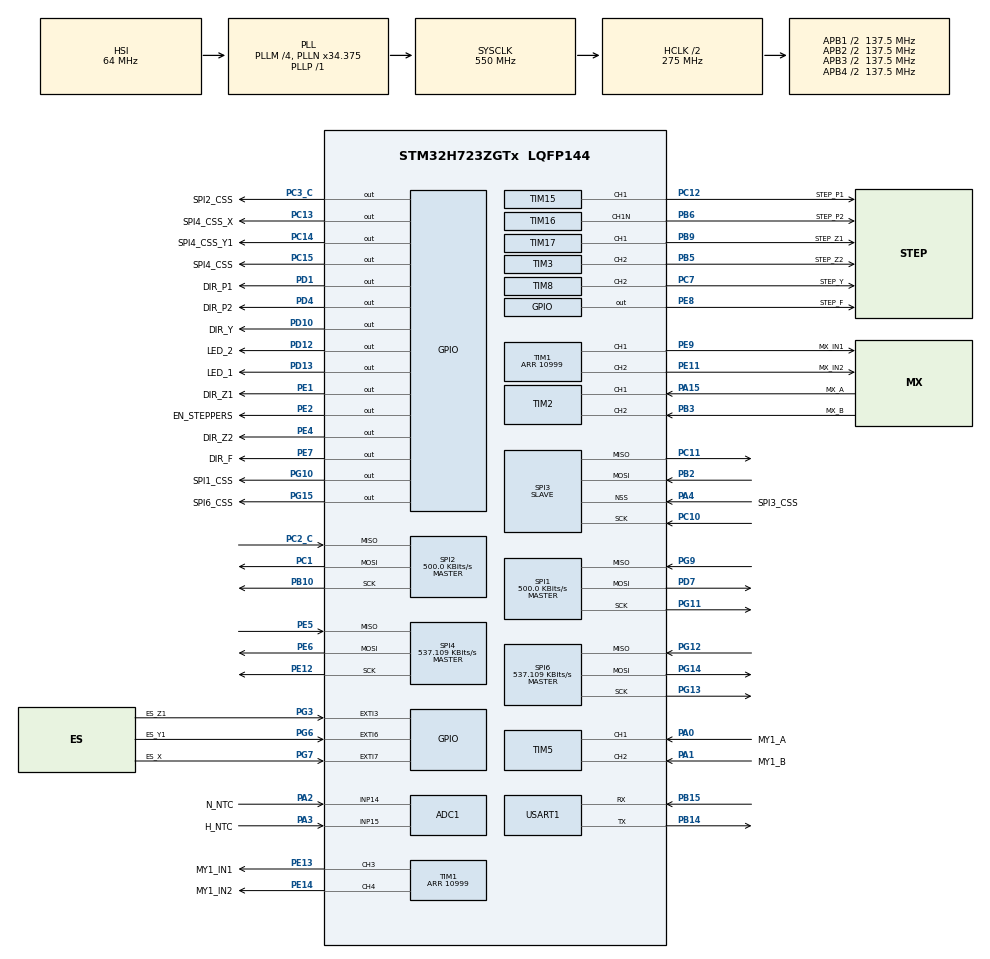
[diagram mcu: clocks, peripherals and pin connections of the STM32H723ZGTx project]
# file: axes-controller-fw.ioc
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ADC1.Channel-0\#ChannelRegularConversion=ADC_CHANNEL_14
ADC1.Channel-1\#ChannelRegularConversion=ADC_CHANNEL_15
ADC1.ContinuousConvMode=ENABLE
ADC1.ConversionDataManagement=ADC_CONVERSIONDATA_DMA_CIRCULAR
ADC1.DiscontinuousConvMode=DISABLE
ADC1.NbrOfConversion=2
ADC1.NbrOfConversionFlag=1
ADC1.OffsetNumber-0\#ChannelRegularConversion=ADC_OFFSET_NONE
ADC1.OffsetNumber-1\#ChannelRegularConversion=ADC_OFFSET_NONE
ADC1.OffsetSignedSaturation-0\#ChannelRegularConversion=DISABLE
ADC1.OffsetSignedSaturation-1\#ChannelRegularConversion=DISABLE
ADC1.Overrun=ADC_OVR_DATA_OVERWRITTEN
ADC1.Rank-0\#ChannelRegularConversion=1
ADC1.Rank-1\#ChannelRegularConversion=2
ADC1.SamplingTime-0\#ChannelRegularConversion=ADC_SAMPLETIME_387CYCLES_5
ADC1.SamplingTime-1\#ChannelRegularConversion=ADC_SAMPLETIME_387CYCLES_5
ADC1.master=1
Bdma.Request0=SPI6_RX
Bdma.Request1=SPI6_TX
Bdma.RequestsNb=2
Bdma.SPI6_RX.0.Direction=DMA_PERIPH_TO_MEMORY
Bdma.SPI6_RX.0.EventEnable=DISABLE
Bdma.SPI6_RX.0.Instance=BDMA_Channel0
Bdma.SPI6_RX.0.MemDataAlignment=DMA_MDATAALIGN_HALFWORD
Bdma.SPI6_RX.0.MemInc=DMA_MINC_ENABLE
Bdma.SPI6_RX.0.Mode=DMA_NORMAL
Bdma.SPI6_RX.0.PeriphDataAlignment=DMA_PDATAALIGN_HALFWORD
Bdma.SPI6_RX.0.PeriphInc=DMA_PINC_DISABLE
Bdma.SPI6_RX.0.Polarity=HAL_DMAMUX_REQ_GEN_RISING
Bdma.SPI6_RX.0.Priority=DMA_PRIORITY_MEDIUM
Bdma.SPI6_RX.0.RequestNumber=1
Bdma.SPI6_RX.0.SignalID=NONE
Bdma.SPI6_RX.0.SyncEnable=DISABLE
Bdma.SPI6_RX.0.SyncPolarity=HAL_DMAMUX_SYNC_NO_EVENT
Bdma.SPI6_RX.0.SyncRequestNumber=1
Bdma.SPI6_RX.0.SyncSignalID=NONE
Bdma.SPI6_TX.1.Direction=DMA_MEMORY_TO_PERIPH
Bdma.SPI6_TX.1.EventEnable=DISABLE
Bdma.SPI6_TX.1.Instance=BDMA_Channel1
Bdma.SPI6_TX.1.MemDataAlignment=DMA_MDATAALIGN_HALFWORD
Bdma.SPI6_TX.1.MemInc=DMA_MINC_ENABLE
Bdma.SPI6_TX.1.Mode=DMA_NORMAL
Bdma.SPI6_TX.1.PeriphDataAlignment=DMA_PDATAALIGN_HALFWORD
Bdma.SPI6_TX.1.PeriphInc=DMA_PINC_DISABLE
Bdma.SPI6_TX.1.Polarity=HAL_DMAMUX_REQ_GEN_RISING
Bdma.SPI6_TX.1.Priority=DMA_PRIORITY_MEDIUM
Bdma.SPI6_TX.1.RequestNumber=1
Bdma.SPI6_TX.1.SignalID=NONE
Bdma.SPI6_TX.1.SyncEnable=DISABLE
Bdma.SPI6_TX.1.SyncPolarity=HAL_DMAMUX_SYNC_NO_EVENT
Bdma.SPI6_TX.1.SyncRequestNumber=1
Bdma.SPI6_TX.1.SyncSignalID=NONE
CORTEX_M7.default_mode_Activation=1
Dma.ADC1.4.Direction=DMA_PERIPH_TO_MEMORY
Dma.ADC1.4.EventEnable=DISABLE
Dma.ADC1.4.FIFOMode=DMA_FIFOMODE_DISABLE
Dma.ADC1.4.Instance=DMA1_Stream4
Dma.ADC1.4.MemDataAlignment=DMA_MDATAALIGN_HALFWORD
Dma.ADC1.4.MemInc=DMA_MINC_ENABLE
Dma.ADC1.4.Mode=DMA_CIRCULAR
Dma.ADC1.4.PeriphDataAlignment=DMA_PDATAALIGN_HALFWORD
Dma.ADC1.4.PeriphInc=DMA_PINC_DISABLE
Dma.ADC1.4.Polarity=HAL_DMAMUX_REQ_GEN_RISING
Dma.ADC1.4.Priority=DMA_PRIORITY_LOW
Dma.ADC1.4.RequestNumber=1
Dma.ADC1.4.SignalID=NONE
Dma.ADC1.4.SyncEnable=DISABLE
Dma.ADC1.4.SyncPolarity=HAL_DMAMUX_SYNC_NO_EVENT
Dma.ADC1.4.SyncRequestNumber=1
Dma.ADC1.4.SyncSignalID=NONE
Dma.Request0=SPI1_RX
Dma.Request1=SPI2_RX
Dma.Request2=SPI3_RX
Dma.Request3=SPI4_RX
Dma.Request4=ADC1
Dma.Request5=SPI1_TX
Dma.Request6=SPI3_TX
Dma.Request7=SPI2_TX
Dma.Request8=SPI4_TX
Dma.SPI1_RX.0.Direction=DMA_PERIPH_TO_MEMORY
Dma.SPI1_RX.0.EventEnable=DISABLE
Dma.SPI1_RX.0.FIFOMode=DMA_FIFOMODE_DISABLE
Dma.SPI1_RX.0.Instance=DMA1_Stream0
Dma.SPI1_RX.0.MemDataAlignment=DMA_MDATAALIGN_HALFWORD
Dma.SPI1_RX.0.MemInc=DMA_MINC_ENABLE
Dma.SPI1_RX.0.Mode=DMA_NORMAL
Dma.SPI1_RX.0.PeriphDataAlignment=DMA_PDATAALIGN_HALFWORD
Dma.SPI1_RX.0.PeriphInc=DMA_PINC_DISABLE
Dma.SPI1_RX.0.Polarity=HAL_DMAMUX_REQ_GEN_RISING
Dma.SPI1_RX.0.Priority=DMA_PRIORITY_MEDIUM
Dma.SPI1_RX.0.RequestNumber=1
Dma.SPI1_RX.0.SignalID=NONE
Dma.SPI1_RX.0.SyncEnable=DISABLE
Dma.SPI1_RX.0.SyncPolarity=HAL_DMAMUX_SYNC_NO_EVENT
Dma.SPI1_RX.0.SyncRequestNumber=1
Dma.SPI1_RX.0.SyncSignalID=NONE
Dma.SPI1_TX.5.Direction=DMA_MEMORY_TO_PERIPH
Dma.SPI1_TX.5.EventEnable=DISABLE
Dma.SPI1_TX.5.FIFOMode=DMA_FIFOMODE_DISABLE
Dma.SPI1_TX.5.Instance=DMA1_Stream5
Dma.SPI1_TX.5.MemDataAlignment=DMA_MDATAALIGN_HALFWORD
Dma.SPI1_TX.5.MemInc=DMA_MINC_ENABLE
Dma.SPI1_TX.5.Mode=DMA_NORMAL
Dma.SPI1_TX.5.PeriphDataAlignment=DMA_PDATAALIGN_HALFWORD
Dma.SPI1_TX.5.PeriphInc=DMA_PINC_DISABLE
Dma.SPI1_TX.5.Polarity=HAL_DMAMUX_REQ_GEN_RISING
Dma.SPI1_TX.5.Priority=DMA_PRIORITY_MEDIUM
Dma.SPI1_TX.5.RequestNumber=1
Dma.SPI1_TX.5.SignalID=NONE
Dma.SPI1_TX.5.SyncEnable=DISABLE
Dma.SPI1_TX.5.SyncPolarity=HAL_DMAMUX_SYNC_NO_EVENT
Dma.SPI1_TX.5.SyncRequestNumber=1
Dma.SPI1_TX.5.SyncSignalID=NONE
Dma.SPI2_RX.1.Direction=DMA_PERIPH_TO_MEMORY
Dma.SPI2_RX.1.EventEnable=DISABLE
Dma.SPI2_RX.1.FIFOMode=DMA_FIFOMODE_DISABLE
Dma.SPI2_RX.1.Instance=DMA1_Stream1
Dma.SPI2_RX.1.MemDataAlignment=DMA_MDATAALIGN_HALFWORD
Dma.SPI2_RX.1.MemInc=DMA_MINC_ENABLE
Dma.SPI2_RX.1.Mode=DMA_NORMAL
Dma.SPI2_RX.1.PeriphDataAlignment=DMA_PDATAALIGN_HALFWORD
Dma.SPI2_RX.1.PeriphInc=DMA_PINC_DISABLE
Dma.SPI2_RX.1.Polarity=HAL_DMAMUX_REQ_GEN_RISING
Dma.SPI2_RX.1.Priority=DMA_PRIORITY_MEDIUM
Dma.SPI2_RX.1.RequestNumber=1
Dma.SPI2_RX.1.SignalID=NONE
Dma.SPI2_RX.1.SyncEnable=DISABLE
Dma.SPI2_RX.1.SyncPolarity=HAL_DMAMUX_SYNC_NO_EVENT
Dma.SPI2_RX.1.SyncRequestNumber=1
Dma.SPI2_RX.1.SyncSignalID=NONE
Dma.SPI2_TX.7.Direction=DMA_MEMORY_TO_PERIPH
Dma.SPI2_TX.7.EventEnable=DISABLE
Dma.SPI2_TX.7.FIFOMode=DMA_FIFOMODE_DISABLE
Dma.SPI2_TX.7.Instance=DMA2_Stream3
Dma.SPI2_TX.7.MemDataAlignment=DMA_MDATAALIGN_HALFWORD
Dma.SPI2_TX.7.MemInc=DMA_MINC_ENABLE
Dma.SPI2_TX.7.Mode=DMA_NORMAL
Dma.SPI2_TX.7.PeriphDataAlignment=DMA_PDATAALIGN_HALFWORD
Dma.SPI2_TX.7.PeriphInc=DMA_PINC_DISABLE
Dma.SPI2_TX.7.Polarity=HAL_DMAMUX_REQ_GEN_RISING
Dma.SPI2_TX.7.Priority=DMA_PRIORITY_MEDIUM
Dma.SPI2_TX.7.RequestNumber=1
Dma.SPI2_TX.7.SignalID=NONE
Dma.SPI2_TX.7.SyncEnable=DISABLE
Dma.SPI2_TX.7.SyncPolarity=HAL_DMAMUX_SYNC_NO_EVENT
Dma.SPI2_TX.7.SyncRequestNumber=1
Dma.SPI2_TX.7.SyncSignalID=NONE
Dma.SPI3_RX.2.Direction=DMA_PERIPH_TO_MEMORY
Dma.SPI3_RX.2.EventEnable=DISABLE
Dma.SPI3_RX.2.FIFOMode=DMA_FIFOMODE_DISABLE
Dma.SPI3_RX.2.Instance=DMA1_Stream2
Dma.SPI3_RX.2.MemDataAlignment=DMA_MDATAALIGN_BYTE
Dma.SPI3_RX.2.MemInc=DMA_MINC_ENABLE
Dma.SPI3_RX.2.Mode=DMA_NORMAL
Dma.SPI3_RX.2.PeriphDataAlignment=DMA_PDATAALIGN_BYTE
Dma.SPI3_RX.2.PeriphInc=DMA_PINC_DISABLE
Dma.SPI3_RX.2.Polarity=HAL_DMAMUX_REQ_GEN_RISING
Dma.SPI3_RX.2.Priority=DMA_PRIORITY_HIGH
Dma.SPI3_RX.2.RequestNumber=1
Dma.SPI3_RX.2.SignalID=NONE
Dma.SPI3_RX.2.SyncEnable=DISABLE
Dma.SPI3_RX.2.SyncPolarity=HAL_DMAMUX_SYNC_NO_EVENT
Dma.SPI3_RX.2.SyncRequestNumber=1
Dma.SPI3_RX.2.SyncSignalID=NONE
Dma.SPI3_TX.6.Direction=DMA_MEMORY_TO_PERIPH
Dma.SPI3_TX.6.EventEnable=DISABLE
Dma.SPI3_TX.6.FIFOMode=DMA_FIFOMODE_DISABLE
Dma.SPI3_TX.6.Instance=DMA1_Stream6
Dma.SPI3_TX.6.MemDataAlignment=DMA_MDATAALIGN_BYTE
Dma.SPI3_TX.6.MemInc=DMA_MINC_ENABLE
Dma.SPI3_TX.6.Mode=DMA_NORMAL
Dma.SPI3_TX.6.PeriphDataAlignment=DMA_PDATAALIGN_BYTE
Dma.SPI3_TX.6.PeriphInc=DMA_PINC_DISABLE
Dma.SPI3_TX.6.Polarity=HAL_DMAMUX_REQ_GEN_RISING
Dma.SPI3_TX.6.Priority=DMA_PRIORITY_HIGH
Dma.SPI3_TX.6.RequestNumber=1
Dma.SPI3_TX.6.SignalID=NONE
Dma.SPI3_TX.6.SyncEnable=DISABLE
Dma.SPI3_TX.6.SyncPolarity=HAL_DMAMUX_SYNC_NO_EVENT
Dma.SPI3_TX.6.SyncRequestNumber=1
Dma.SPI3_TX.6.SyncSignalID=NONE
Dma.SPI4_RX.3.Direction=DMA_PERIPH_TO_MEMORY
Dma.SPI4_RX.3.EventEnable=DISABLE
Dma.SPI4_RX.3.FIFOMode=DMA_FIFOMODE_DISABLE
Dma.SPI4_RX.3.Instance=DMA1_Stream3
Dma.SPI4_RX.3.MemDataAlignment=DMA_MDATAALIGN_HALFWORD
Dma.SPI4_RX.3.MemInc=DMA_MINC_ENABLE
Dma.SPI4_RX.3.Mode=DMA_NORMAL
Dma.SPI4_RX.3.PeriphDataAlignment=DMA_PDATAALIGN_HALFWORD
Dma.SPI4_RX.3.PeriphInc=DMA_PINC_DISABLE
Dma.SPI4_RX.3.Polarity=HAL_DMAMUX_REQ_GEN_RISING
Dma.SPI4_RX.3.Priority=DMA_PRIORITY_MEDIUM
Dma.SPI4_RX.3.RequestNumber=1
Dma.SPI4_RX.3.SignalID=NONE
Dma.SPI4_RX.3.SyncEnable=DISABLE
Dma.SPI4_RX.3.SyncPolarity=HAL_DMAMUX_SYNC_NO_EVENT
Dma.SPI4_RX.3.SyncRequestNumber=1
Dma.SPI4_RX.3.SyncSignalID=NONE
Dma.SPI4_TX.8.Direction=DMA_MEMORY_TO_PERIPH
Dma.SPI4_TX.8.EventEnable=DISABLE
Dma.SPI4_TX.8.FIFOMode=DMA_FIFOMODE_DISABLE
Dma.SPI4_TX.8.Instance=DMA2_Stream4
Dma.SPI4_TX.8.MemDataAlignment=DMA_MDATAALIGN_HALFWORD
Dma.SPI4_TX.8.MemInc=DMA_MINC_ENABLE
Dma.SPI4_TX.8.Mode=DMA_NORMAL
Dma.SPI4_TX.8.PeriphDataAlignment=DMA_PDATAALIGN_HALFWORD
Dma.SPI4_TX.8.PeriphInc=DMA_PINC_DISABLE
Dma.SPI4_TX.8.Polarity=HAL_DMAMUX_REQ_GEN_RISING
Dma.SPI4_TX.8.Priority=DMA_PRIORITY_MEDIUM
Dma.SPI4_TX.8.RequestNumber=1
Dma.SPI4_TX.8.SignalID=NONE
Dma.SPI4_TX.8.SyncEnable=DISABLE
Dma.SPI4_TX.8.SyncPolarity=HAL_DMAMUX_SYNC_NO_EVENT
Dma.SPI4_TX.8.SyncRequestNumber=1
Dma.SPI4_TX.8.SyncSignalID=NONE
Mcu.Family=STM32H7
Mcu.Name=STM32H723ZGTx
Mcu.Package=LQFP144
NVIC.BDMA_Channel0_IRQn=true\:0\:0\:false\:false\:true\:false\:true\:true
NVIC.BDMA_Channel1_IRQn=true\:0\:0\:false\:false\:true\:false\:true\:true
NVIC.DMA1_Stream0_IRQn=true\:0\:0\:false\:false\:true\:false\:true\:true
NVIC.DMA1_Stream1_IRQn=true\:0\:0\:false\:false\:true\:false\:true\:true
NVIC.DMA1_Stream2_IRQn=true\:0\:0\:false\:false\:true\:false\:true\:true
NVIC.DMA1_Stream3_IRQn=true\:0\:0\:false\:false\:true\:false\:true\:true
NVIC.DMA1_Stream4_IRQn=true\:0\:0\:false\:false\:true\:false\:true\:true
NVIC.DMA1_Stream5_IRQn=true\:0\:0\:false\:false\:true\:false\:true\:true
NVIC.DMA1_Stream6_IRQn=true\:0\:0\:false\:false\:true\:false\:true\:true
NVIC.DMA2_Stream3_IRQn=true\:0\:0\:false\:false\:true\:false\:true\:true
NVIC.DMA2_Stream4_IRQn=true\:0\:0\:false\:false\:true\:false\:true\:true
NVIC.EXTI3_IRQn=true\:0\:0\:false\:false\:true\:true\:true\:true
NVIC.EXTI9_5_IRQn=true\:0\:0\:false\:false\:true\:true\:true\:true
NVIC.PriorityGroup=NVIC_PRIORITYGROUP_4
NVIC.SPI1_IRQn=true\:0\:0\:false\:false\:true\:false\:true\:true
NVIC.SPI2_IRQn=true\:0\:0\:false\:false\:true\:false\:true\:true
NVIC.SPI3_IRQn=true\:0\:0\:false\:false\:true\:false\:true\:true
NVIC.SPI4_IRQn=true\:0\:0\:false\:false\:true\:false\:true\:true
NVIC.SPI6_IRQn=true\:0\:0\:false\:false\:true\:true\:true\:true
NVIC.TIM6_DAC_IRQn=true\:5\:0\:true\:false\:true\:true\:true\:true
PA0.GPIO_Label=MY1_A
PA0.Signal=S_TIM5_CH1
PA1.GPIO_Label=MY1_B
PA1.Signal=S_TIM5_CH2
PA13(JTMS/SWDIO).Mode=Serial_Wire
PA13(JTMS/SWDIO).Signal=DEBUG_JTMS-SWDIO
PA14(JTCK/SWCLK).Mode=Serial_Wire
PA14(JTCK/SWCLK).Signal=DEBUG_JTCK-SWCLK
PA15(JTDI).GPIO_Label=MX_A
PA15(JTDI).Signal=S_TIM2_CH1_ETR
PA2.GPIO_Label=N_NTC
PA2.Signal=ADCx_INP14
PA3.GPIO_Label=H_NTC
PA3.Signal=ADCx_INP15
PA4.GPIO_Label=SPI3_CSS
PA4.GPIO_PuPd=GPIO_PULLUP
PA4.Mode=NSS_Signal_Hard_Input
PA4.Signal=SPI3_NSS
PB10.Mode=Full_Duplex_Master
PB10.Signal=SPI2_SCK
PB14.Mode=Asynchronous
PB14.Signal=USART1_TX
PB15.Mode=Asynchronous
PB15.Signal=USART1_RX
PB2.GPIO_PuPd=GPIO_PULLDOWN
PB2.Mode=Full_Duplex_Slave
PB2.Signal=SPI3_MOSI
PB3(JTDO/TRACESWO).GPIO_Label=MX_B
PB3(JTDO/TRACESWO).Signal=S_TIM2_CH2
PB5.GPIO_Label=STEP_Z2
PB5.Signal=S_TIM3_CH2
PB6.GPIO_Label=STEP_P2
PB6.Mode=PWM Generation1 CH1N
PB6.Signal=TIM16_CH1N
PB9.GPIO_Label=STEP_Z1
PB9.Signal=S_TIM17_CH1
PC1.Mode=Full_Duplex_Master
PC1.Signal=SPI2_MOSI
PC10.GPIO_PuPd=GPIO_PULLDOWN
PC10.Mode=Full_Duplex_Slave
PC10.Signal=SPI3_SCK
PC11.GPIO_PuPd=GPIO_PULLDOWN
PC11.Mode=Full_Duplex_Slave
PC11.Signal=SPI3_MISO
PC12.GPIO_Label=STEP_P1
PC12.Signal=S_TIM15_CH1
PC13.GPIO_Label=SPI4_CSS_X
PC13.Signal=GPIO_Output
PC14-OSC32_IN.GPIO_Label=SPI4_CSS_Y1
PC14-OSC32_IN.Signal=GPIO_Output
PC15-OSC32_OUT.GPIO_Label=SPI4_CSS
PC15-OSC32_OUT.GPIO_PuPd=GPIO_PULLUP
PC15-OSC32_OUT.PinState=GPIO_PIN_SET
PC15-OSC32_OUT.Signal=GPIO_Output
PC2_C.Mode=Full_Duplex_Master
PC2_C.Signal=SPI2_MISO
PC3_C.GPIO_Label=SPI2_CSS
PC3_C.GPIO_PuPd=GPIO_PULLUP
PC3_C.PinState=GPIO_PIN_SET
PC3_C.Signal=GPIO_Output
PC7.GPIO_Label=STEP_Y
PC7.Signal=S_TIM8_CH2
PD1.GPIO_Label=DIR_P1
PD1.Signal=GPIO_Output
PD10.GPIO_Label=DIR_Y
PD10.Signal=GPIO_Output
PD12.GPIO_Label=LED_2
PD12.Signal=GPIO_Output
PD13.GPIO_Label=LED_1
PD13.Signal=GPIO_Output
PD14.GPIO_Label=H_PWM
PD14.Signal=S_TIM4_CH3
PD4.GPIO_Label=DIR_P2
PD4.Signal=GPIO_Output
PD7.GPIO_Speed=GPIO_SPEED_FREQ_HIGH
PD7.Mode=Full_Duplex_Master
PD7.Signal=SPI1_MOSI
PE1.GPIO_Label=DIR_Z1
PE1.Signal=GPIO_Output
PE11.GPIO_Label=MX_IN2
PE11.Signal=S_TIM1_CH2
PE12.Mode=Full_Duplex_Master
PE12.Signal=SPI4_SCK
PE13.GPIO_Label=MY1_IN1
PE13.Signal=S_TIM1_CH3
PE14.GPIO_Label=MY1_IN2
PE14.Signal=S_TIM1_CH4
PE2.GPIO_Label=EN_STEPPERS
PE2.Signal=GPIO_Output
PE4.GPIO_Label=DIR_Z2
PE4.Signal=GPIO_Output
PE5.Mode=Full_Duplex_Master
PE5.Signal=SPI4_MISO
PE6.Mode=Full_Duplex_Master
PE6.Signal=SPI4_MOSI
PE7.GPIO_Label=DIR_F
PE7.Signal=GPIO_Output
PE8.GPIO_Label=STEP_F
PE8.Signal=GPIO_Output
PE9.GPIO_Label=MX_IN1
PE9.Signal=S_TIM1_CH1
PG10.GPIO_Label=SPI1_CSS
PG10.GPIO_PuPd=GPIO_PULLUP
PG10.GPIO_Speed=GPIO_SPEED_FREQ_HIGH
PG10.PinState=GPIO_PIN_SET
PG10.Signal=GPIO_Output
PG11.GPIO_Speed=GPIO_SPEED_FREQ_HIGH
PG11.Mode=Full_Duplex_Master
PG11.Signal=SPI1_SCK
PG12.GPIO_PuPd=GPIO_PULLUP
PG12.Mode=Full_Duplex_Master
PG12.Signal=SPI6_MISO
PG13.Mode=Full_Duplex_Master
PG13.Signal=SPI6_SCK
PG14.Mode=Full_Duplex_Master
PG14.Signal=SPI6_MOSI
PG15.GPIO_Label=SPI6_CSS
PG15.GPIO_PuPd=GPIO_PULLUP
PG15.PinState=GPIO_PIN_SET
PG15.Signal=GPIO_Output
PG3.GPIO_Label=ES_Z1
PG3.GPIO_ModeDefaultEXTI=GPIO_MODE_IT_FALLING
PG3.GPIO_PuPd=GPIO_PULLUP
PG3.Signal=GPXTI3
PG6.GPIO_Label=ES_Y1
PG6.GPIO_ModeDefaultEXTI=GPIO_MODE_IT_FALLING
PG6.GPIO_PuPd=GPIO_PULLUP
PG6.Signal=GPXTI6
PG7.GPIO_Label=ES_X
PG7.GPIO_ModeDefaultEXTI=GPIO_MODE_IT_FALLING
PG7.GPIO_PuPd=GPIO_PULLUP
PG7.Signal=GPXTI7
PG9.GPIO_Speed=GPIO_SPEED_FREQ_HIGH
PG9.Mode=Full_Duplex_Master
PG9.Signal=SPI1_MISO
PH0-OSC_IN.Signal=RCC_OSC_IN
PH1-OSC_OUT.Signal=RCC_OSC_OUT
ProjectManager.HeapSize=0x200
ProjectManager.StackSize=0x400
ProjectManager.TargetToolchain=Makefile
RCC.ADCFreq_Value=96000000
RCC.APB1Freq_Value=137500000
RCC.APB2Freq_Value=137500000
RCC.APB3Freq_Value=137500000
RCC.APB4Freq_Value=137500000
RCC.CortexFreq_Value=550000000
RCC.D1PPRE=RCC_APB3_DIV2
RCC.D2PPRE1=RCC_APB1_DIV2
RCC.D2PPRE2=RCC_APB2_DIV2
RCC.D3PPRE=RCC_APB4_DIV2
RCC.DIVM1=4
RCC.DIVM2=4
RCC.DIVN1=34
RCC.DIVN2=12
RCC.DIVP1=1
RCC.HCLKFreq_Value=275000000
RCC.HPRE=RCC_HCLK_DIV2
RCC.HSE_VALUE=16000000
RCC.PLL2FRACN=0
RCC.PLLFRACN=3072
RCC.SPI123CLockSelection=RCC_SPI123CLKSOURCE_CLKP
RCC.SYSCLKFreq_VALUE=550000000
RCC.SYSCLKSource=RCC_SYSCLKSOURCE_PLLCLK
RCC.USBFreq_Value=275000000
SH.ADCx_INP14.0=ADC1_INP14,IN14-Single-Ended
SH.ADCx_INP15.0=ADC1_INP15,IN15-Single-Ended
SH.S_TIM15_CH1.0=TIM15_CH1,PWM Generation1 CH1
SH.S_TIM17_CH1.0=TIM17_CH1,PWM Generation1 CH1
SH.S_TIM1_CH1.0=TIM1_CH1,PWM Generation1 CH1
SH.S_TIM1_CH2.0=TIM1_CH2,PWM Generation2 CH2
SH.S_TIM1_CH3.0=TIM1_CH3,PWM Generation3 CH3
SH.S_TIM1_CH4.0=TIM1_CH4,PWM Generation4 CH4
SH.S_TIM2_CH1_ETR.0=TIM2_CH1,Encoder_Interface
SH.S_TIM2_CH2.0=TIM2_CH2,Encoder_Interface
SH.S_TIM3_CH2.0=TIM3_CH2,PWM Generation2 CH2
SH.S_TIM5_CH1.0=TIM5_CH1,Encoder_Interface
SH.S_TIM5_CH2.0=TIM5_CH2,Encoder_Interface
SH.S_TIM8_CH2.0=TIM8_CH2,PWM Generation2 CH2
SPI1.BaudRatePrescaler=SPI_BAUDRATEPRESCALER_128
SPI1.CLKPhase=SPI_PHASE_2EDGE
SPI1.CalculateBaudRate=500.0 KBits/s
SPI1.DataSize=SPI_DATASIZE_16BIT
SPI1.Direction=SPI_DIRECTION_2LINES
SPI1.Mode=SPI_MODE_MASTER
SPI1.VirtualType=VM_MASTER
SPI2.BaudRatePrescaler=SPI_BAUDRATEPRESCALER_128
SPI2.CLKPhase=SPI_PHASE_2EDGE
SPI2.CalculateBaudRate=500.0 KBits/s
SPI2.DataSize=SPI_DATASIZE_16BIT
SPI2.Direction=SPI_DIRECTION_2LINES
SPI2.Mode=SPI_MODE_MASTER
SPI2.VirtualType=VM_MASTER
SPI3.DataSize=SPI_DATASIZE_8BIT
SPI3.Direction=SPI_DIRECTION_2LINES
SPI3.Mode=SPI_MODE_SLAVE
SPI3.VirtualNSS=VM_NSSHARD
SPI3.VirtualType=VM_SLAVE
SPI4.BaudRatePrescaler=SPI_BAUDRATEPRESCALER_256
SPI4.CLKPhase=SPI_PHASE_2EDGE
SPI4.CalculateBaudRate=537.109 KBits/s
SPI4.DataSize=SPI_DATASIZE_16BIT
SPI4.Direction=SPI_DIRECTION_2LINES
SPI4.Mode=SPI_MODE_MASTER
SPI4.VirtualType=VM_MASTER
SPI6.BaudRatePrescaler=SPI_BAUDRATEPRESCALER_256
SPI6.CLKPhase=SPI_PHASE_2EDGE
SPI6.CalculateBaudRate=537.109 KBits/s
SPI6.DataSize=SPI_DATASIZE_16BIT
SPI6.Direction=SPI_DIRECTION_2LINES
SPI6.Mode=SPI_MODE_MASTER
SPI6.VirtualType=VM_MASTER
TIM1.Channel-PWM\ Generation1\ CH1=TIM_CHANNEL_1
TIM1.Channel-PWM\ Generation2\ CH2=TIM_CHANNEL_2
TIM1.Channel-PWM\ Generation3\ CH3=TIM_CHANNEL_3
TIM1.Channel-PWM\ Generation4\ CH4=TIM_CHANNEL_4
TIM1.Period=10999
TIM15.AutoReloadPreload=TIM_AUTORELOAD_PRELOAD_ENABLE
TIM15.Channel-PWM\ Generation1\ CH1=TIM_CHANNEL_1
TIM15.Prescaler=2749
TIM15.Pulse-PWM\ Generation1\ CH1=20
TIM16.AutoReloadPreload=TIM_AUTORELOAD_PRELOAD_ENABLE
TIM16.Channel=TIM_CHANNEL_1
TIM16.Prescaler=2749
TIM16.Pulse=20
TIM17.AutoReloadPreload=TIM_AUTORELOAD_PRELOAD_ENABLE
TIM17.Channel=TIM_CHANNEL_1
TIM17.Prescaler=2749
TIM2.IC1Filter=5
TIM23.Prescaler=274
TIM3.AutoReloadPreload=TIM_AUTORELOAD_PRELOAD_ENABLE
TIM3.Channel-PWM\ Generation2\ CH2=TIM_CHANNEL_2
TIM3.Prescaler=2749
TIM4.Period=65535
TIM4.Prescaler=274
TIM5.IC1Filter=5
TIM6.AutoReloadPreload=TIM_AUTORELOAD_PRELOAD_ENABLE
TIM6.Period=99
TIM6.Prescaler=274
TIM8.AutoReloadPreload=TIM_AUTORELOAD_PRELOAD_ENABLE
TIM8.Channel-PWM\ Generation2\ CH2=TIM_CHANNEL_2
TIM8.Period=65535
TIM8.Prescaler=10
USART1.VirtualMode-Asynchronous=VM_ASYNC
VP_MEMORYMAP_VS_MEMORYMAP.Mode=CurAppReg
VP_TIM16_VS_ClockSourceINT.Mode=Enable_Timer
VP_TIM17_VS_ClockSourceINT.Mode=Enable_Timer
VP_TIM1_VS_ClockSourceINT.Mode=Internal
VP_TIM23_VS_ClockSourceINT.Mode=Internal
VP_TIM3_VS_ClockSourceINT.Mode=Internal
VP_TIM4_VS_ClockSourceINT.Mode=Internal
VP_TIM6_VS_ClockSourceINT.Mode=Enable_Timer
VP_TIM8_VS_ClockSourceINT.Mode=Internal
board=custom

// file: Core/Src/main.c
/* USER CODE BEGIN Header */
/**
  ******************************************************************************
  * @file           : main.c
  * @brief          : Main program body
  ******************************************************************************
  * @attention
  *
  * Copyright (c) 2026 STMicroelectronics.
  * All rights reserved.
  *
  * This software is licensed under terms that can be found in the LICENSE file
  * in the root directory of this software component.
  * If no LICENSE file comes with this software, it is provided AS-IS.
  *
  ******************************************************************************
  */
/* USER CODE END Header */
#include "main.h"
#include "adc.h"
#include "bdma.h"
#include "dma.h"
#include "spi.h"
#include "tim.h"
#include "usart.h"
#include "gpio.h"

/* USER CODE BEGIN Includes */
#include "types.h"
#include "ctrl.h"
#include "handlers.h"
#include <stdio.h>

/* USER CODE END Includes */

/* USER CODE BEGIN PV */
/* USER CODE BEGIN PV */

uint16_t spi1_rx_buf[16] __attribute__((section(".dma_buffer"), aligned(32))); // X
uint16_t spi1_tx_buf[16] __attribute__((section(".dma_buffer"), aligned(32)));
uint16_t spi2_rx_buf[16] __attribute__((section(".dma_buffer"), aligned(32))); // Y
uint16_t spi2_tx_buf[16] __attribute__((section(".dma_buffer"), aligned(32)));
uint16_t spi4_rx_buf[16] __attribute__((section(".dma_buffer"), aligned(32))); // A
uint16_t spi4_tx_buf[16] __attribute__((section(".dma_buffer"), aligned(32)));
uint16_t spi6_rx_buf[16] __attribute__((section(".bdma_buffer"), aligned(32))); // C
uint16_t spi6_tx_buf[16] __attribute__((section(".bdma_buffer"), aligned(32)));

uint8_t spi3_rx_buf[sizeof(SPIPacket)] __attribute__((section(".dma_buffer"), aligned(32))); // from raspi
  // Raspberry SPI3
uint8_t spi3_tx_buf_active[sizeof(SPIPacket)] __attribute__((section(".dma_buffer"), aligned(32)));
uint8_t spi3_tx_buf_staging[sizeof(SPITxPacket)] __attribute__((section(".dma_buffer"), aligned(32)));

// uint16_t spi4_single_buf[16] __attribute__((section(".dma_buffer"), aligned(32)));

volatile uint8_t current_axis_idx = 0;
float current_values[3];

uint8_t machine_state = INIT;
Axis axis_X, axis_Y;
Stepper axis_Z1, axis_Z2, axis_A1, axis_A2, axis_C, mot_flow;
Encoder enc_rot_X, enc_rot_Y, enc_rot_Z, enc_rot_A, enc_rot_C;
Encoder enc_lin_X, enc_lin_Y;
TempState bed_state = STATE_OFF;
uint32_t  bed_timer = 0;
TempState ext_state = STATE_OFF;
uint32_t  ext_timer = 0;

/* USER CODE END PV */

void SystemClock_Config(void);
void PeriphCommonClock_Config(void);
static void MPU_Config(void);

int main(void)
{

  /* MPU Configuration--------------------------------------------------------*/
  MPU_Config();

  /* MCU Configuration--------------------------------------------------------*/

  /* Reset of all peripherals, Initializes the Flash interface and the Systick. */
  HAL_Init();

  /* USER CODE BEGIN Init */
  HAL_Delay(250);

  /* USER CODE END Init */

  /* Configure the system clock */
  SystemClock_Config();
  SCB_EnableICache();
  SCB_EnableDCache();

  /* Configure the peripherals common clocks */
  PeriphCommonClock_Config();

  /* USER CODE BEGIN SysInit */
  HAL_Delay(500);

  /* USER CODE END SysInit */

  /* Initialize all configured peripherals */
  MX_GPIO_Init();
  MX_DMA_Init();
  MX_BDMA_Init();
  MX_TIM2_Init();
  MX_TIM3_Init();
  MX_TIM5_Init();
  MX_SPI1_Init();
  MX_SPI2_Init();
  MX_USART1_UART_Init();
  MX_TIM1_Init();
  MX_TIM8_Init();
  MX_SPI3_Init();
  MX_SPI4_Init();
  MX_ADC1_Init();
  MX_TIM4_Init();
  MX_TIM6_Init();
  MX_TIM15_Init();
  MX_TIM17_Init();
  MX_SPI6_Init();
  MX_TIM23_Init();
  MX_TIM16_Init();
  /* USER CODE BEGIN 2 */

  enc_rot_X.g_ratio = 27.0f;
  enc_rot_Y.g_ratio = 24.0f;
  enc_rot_Z.g_ratio = 1.0f;
  enc_rot_A.g_ratio = 1.0f;
  enc_rot_C.g_ratio = 1.0f;

  /*
   __  __             _
   \ \/ /   __ ___  _(_)___
    \  /   / _` \ \/ / / __|
    /  \  | (_| |>  <| \__ \
   /_/\_\  \__,_/_/\_\_|___/

  */
  axis_X._enc_rot = &enc_rot_X;
  axis_X._enc_lin = &enc_lin_X;
  axis_X._pwm_register = &TIM1->CCR1;
  axis_X._enc_rot -> _offset = 0.0f;
  axis_X._kickstart = 400.0f;
  // PID_init(&axis_X._pid_pos, 100.0f, 0.01f, 0.001f, 150.0f, -1.0f);
  // PID_init(&axis_X._pid_vel, 20.0f, 0.01f, 0.001f, 9000.0f, -1.0f);
  PID_init(&axis_X._pid_pos, 110.287f, 0.01f, 0.001f, 100.0f, -1.0f); // 300mm/min -> 5mm/s
  PID_init(&axis_X._pid_vel, 18, 0.227864f, 0.00303719f, 7000.0f, -1.0f);
  axis_X._ka = 0.00338426f;
  HAL_TIM_Encoder_Start(&htim2, TIM_CHANNEL_ALL);
  HAL_TIM_PWM_Start(&htim1, TIM_CHANNEL_1);
  HAL_TIM_PWM_Start(&htim1, TIM_CHANNEL_2);

  /*
   __   __     _          _
   \ \ / /    / \   __  _(_)___
    \ V /    / _ \  \ \/ / / __|
     | |    / ___ \  >  <| \__ \
     |_|   /_/   \_\/_/\_\_|___/

  */
  axis_Y._enc_rot = &enc_rot_Y;
  axis_Y._enc_lin = &enc_lin_Y;
  axis_Y._pwm_register = &TIM1->CCR3;
  axis_Y._enc_rot -> _offset = 0.0f;
  axis_Y._kickstart = 200.0f;
  PID_init(&axis_Y._pid_pos, 41.6177f, 0.01f, 0.001f, 120.0f, 1000.0f);
  // PID_init(&axis_Y._pid_vel, 366.4f, 0.0916f, 0.000916f, 3000.0f);
  PID_init(&axis_Y._pid_vel, 8.42585f, 0.01f, 0.0f, 10000.0f, 1000.0f);
  axis_Y._ka = 0.002f;
  HAL_TIM_Encoder_Start(&htim5, TIM_CHANNEL_ALL);
  HAL_TIM_PWM_Start(&htim1, TIM_CHANNEL_3);
  HAL_TIM_PWM_Start(&htim1, TIM_CHANNEL_4);

  /*
    _____     _          _
   |__  /    / \   __  _(_)___
     / /    / _ \  \ \/ / / __|
    / /_   / ___ \  >  <| \__ \
   /____| /_/   \_\/_/\_\_|___/

  */
  axis_Z1._enc_rot = &enc_rot_Z;
  axis_Z1._enc_rot -> _offset = 0.0f;
  axis_Z1._enc_rot -> _converted_value = 0.0f;
  axis_Z1._target = 0.0f;
  axis_Z1.steps_per_unit = 400.0f;
  HAL_TIM_PWM_Start(&htim17, TIM_CHANNEL_1);
  axis_Z1._in_position = 0;

  axis_Z2._enc_rot = &enc_rot_Z;
  axis_Z2._enc_rot -> _offset = 0.0f;
  axis_Z2._enc_rot -> _converted_value = 0.0f;
  axis_Z2._target = 0.0f;
  axis_Z2.steps_per_unit = 400.0f;
  HAL_TIM_PWM_Start(&htim3, TIM_CHANNEL_2);
  axis_Z2._in_position = 0;

  /*
       _         _          _
      / \       / \   __  _(_)___
     / _ \     / _ \  \ \/ / / __|
    / ___ \   / ___ \  >  <| \__ \
   /_/   \_\ /_/   \_\/_/\_\_|___/

  */
  axis_A1._enc_rot = &enc_rot_A;
  axis_A1._enc_rot->_continuous = 1;
  axis_A1._enc_rot -> _offset = 0.0f;
  axis_A1.steps_per_unit = 8.888889f;
  axis_A1._dir = 0;
  axis_A1._in_position = 0;
  HAL_TIM_PWM_Start(&htim15, TIM_CHANNEL_1);

  axis_A2._enc_rot = &enc_rot_A;
  axis_A2._enc_rot -> _offset = 0.0f;
  axis_A2.steps_per_unit = 8.888889f;
  axis_A2._dir = 1; // reverse direction
  axis_A2._in_position = 0;
  HAL_TIMEx_PWMN_Start(&htim16, TIM_CHANNEL_1);

  /*
     ____      _          _
    / ___|    / \   __  _(_)___
   | |       / _ \  \ \/ / / __|
   | |___   / ___ \  >  <| \__ \
    \____| /_/   \_\/_/\_\_|___/

  */
  enc_rot_C._continuous = 0;
  axis_C._enc_rot = &enc_rot_C;
  axis_C._enc_rot -> _offset = 0.0f;
  axis_C.steps_per_unit = 8.888889f;
  axis_C._dir = 1;
  axis_C._in_position = 0;
  HAL_TIM_PWM_Start(&htim8, TIM_CHANNEL_2);

  HAL_Delay(2);
  update_rotary_encoder(&enc_rot_A, spi4_rx_buf[0], 0.002);
  update_rotary_encoder(&enc_rot_C, spi6_rx_buf[0], 0.002);

  // open loop
  enc_rot_Z._converted_value = 0.0f; // homing needed

  uint16_t cmd_clear = 0x4001;
  uint16_t cmd_read  = 0xFFFF;
  uint16_t dummy     = 0;

  /*
    _____ _                 __  __       _
   |  ___| | _____      __ |  \/  | ___ | |_ ___  _ __
   | |_  | |/ _ \ \ /\ / / | |\/| |/ _ \| __/ _ \| '__|
   |  _| | | (_) \ V  V /  | |  | | (_) | || (_) | |
   |_|   |_|\___/ \_/\_/   |_|  |_|\___/ \__\___/|_|

  */
  mot_flow._enc_rot = NULL;
  mot_flow.steps_per_unit = 8.888889f;
  mot_flow._dir = 0;
  mot_flow._current_speed_hz = 0.0f;
  mot_flow._accumulator = 0.0f;
  // HAL_TIM_PWM_Start(htim) <----------------------------

  /*
    ____  ____ ___ _   ___       _ _
   / ___||  _ \_ _/ | |_ _|_ __ (_) |_
   \___ \| |_) | || |  | || '_ \| | __|
    ___) |  __/| || |  | || | | | | |_
   |____/|_|  |___|_| |___|_| |_|_|\__|

  */
  HAL_GPIO_WritePin(SPI1_CSS_GPIO_Port, SPI1_CSS_Pin, GPIO_PIN_RESET);
  HAL_SPI_TransmitReceive(&hspi1, (uint8_t*)&cmd_clear, (uint8_t*)&dummy, 1, 100);
  HAL_GPIO_WritePin(SPI1_CSS_GPIO_Port, SPI1_CSS_Pin, GPIO_PIN_SET);
  HAL_Delay(2);
  HAL_GPIO_WritePin(SPI1_CSS_GPIO_Port, SPI1_CSS_Pin, GPIO_PIN_RESET);
  HAL_SPI_TransmitReceive(&hspi1, (uint8_t*)&cmd_read, (uint8_t*)&dummy, 1, 100);
  HAL_GPIO_WritePin(SPI1_CSS_GPIO_Port, SPI1_CSS_Pin, GPIO_PIN_SET);
  HAL_Delay(2);
  HAL_GPIO_WritePin(SPI1_CSS_GPIO_Port, SPI1_CSS_Pin, GPIO_PIN_RESET);
  HAL_SPI_TransmitReceive(&hspi1, (uint8_t*)&cmd_read, (uint8_t*)&dummy, 1, 100);
  HAL_GPIO_WritePin(SPI1_CSS_GPIO_Port, SPI1_CSS_Pin, GPIO_PIN_SET);
  HAL_Delay(2);
  spi1_tx_buf[0] = 0xFFFF;
  SCB_CleanDCache_by_Addr((uint32_t*)spi1_tx_buf, sizeof(spi1_tx_buf));

  /*
    ____  ____ ___ ____    ___       _ _
   / ___||  _ \_ _|___ \  |_ _|_ __ (_) |_
   \___ \| |_) | |  __) |  | || '_ \| | __|
    ___) |  __/| | / __/   | || | | | | |_
   |____/|_|  |___|_____| |___|_| |_|_|\__|

  */
  HAL_GPIO_WritePin(SPI2_CSS_GPIO_Port, SPI2_CSS_Pin, GPIO_PIN_RESET);
  HAL_SPI_TransmitReceive(&hspi2, (uint8_t*)&cmd_clear, (uint8_t*)&dummy, 1, 100);
  HAL_GPIO_WritePin(SPI2_CSS_GPIO_Port, SPI2_CSS_Pin, GPIO_PIN_SET);
  HAL_Delay(2);
  HAL_GPIO_WritePin(SPI2_CSS_GPIO_Port, SPI2_CSS_Pin, GPIO_PIN_RESET);
  HAL_SPI_TransmitReceive(&hspi2, (uint8_t*)&cmd_read, (uint8_t*)&dummy, 1, 100);
  HAL_GPIO_WritePin(SPI2_CSS_GPIO_Port, SPI2_CSS_Pin, GPIO_PIN_SET);
  HAL_Delay(2);
  HAL_GPIO_WritePin(SPI2_CSS_GPIO_Port, SPI2_CSS_Pin, GPIO_PIN_RESET);
  HAL_SPI_TransmitReceive(&hspi2, (uint8_t*)&cmd_read, (uint8_t*)&dummy, 1, 100);
  HAL_GPIO_WritePin(SPI2_CSS_GPIO_Port, SPI2_CSS_Pin, GPIO_PIN_SET);
  HAL_Delay(2);
  spi2_tx_buf[0] = 0xFFFF;
  SCB_CleanDCache_by_Addr((uint32_t*)spi2_tx_buf, sizeof(spi2_tx_buf));

  enc_rot_Y._last_raw_pos = (float)(dummy & 0x3FFF) * (360.0f / 16384.0f);
  enc_rot_X._last_raw_pos = (float)(dummy & 0x3FFF) * (360.0f / 16384.0f);

  /*
    ____  ____ ___ _____   ___       _ _
   / ___||  _ \_ _|___ /  |_ _|_ __ (_) |_
   \___ \| |_) | |  |_ \   | || '_ \| | __|
    ___) |  __/| | ___) |  | || | | | | |_
   |____/|_|  |___|____/  |___|_| |_|_|\__|

  */
  memset(spi3_tx_buf_active, 0, sizeof(spi3_tx_buf_active));
  spi3_tx_buf_active[0] = 0xBB;
  SCB_CleanDCache_by_Addr((uint32_t*)spi3_tx_buf_active, sizeof(spi3_tx_buf_active));
  SCB_CleanDCache_by_Addr((uint32_t*)spi3_rx_buf, sizeof(spi3_rx_buf));

  /*
    ____  ____ ___ _  _     ___       _ _
   / ___||  _ \_ _| || |   |_ _|_ __ (_) |_
   \___ \| |_) | || || |_   | || '_ \| | __|
    ___) |  __/| ||__   _|  | || | | | | |_
   |____/|_|  |___|  |_|   |___|_| |_|_|\__|

  */
  HAL_GPIO_WritePin(SPI4_CSS_GPIO_Port, SPI4_CSS_Pin, GPIO_PIN_RESET);
  HAL_SPI_TransmitReceive(&hspi4, (uint8_t*)&cmd_clear, (uint8_t*)&dummy, 1, 100);
  HAL_GPIO_WritePin(SPI4_CSS_GPIO_Port, SPI4_CSS_Pin, GPIO_PIN_SET);
  HAL_Delay(2);
  HAL_GPIO_WritePin(SPI4_CSS_GPIO_Port, SPI4_CSS_Pin, GPIO_PIN_RESET);
  HAL_SPI_TransmitReceive(&hspi4, (uint8_t*)&cmd_read, (uint8_t*)&dummy, 1, 100);
  HAL_GPIO_WritePin(SPI4_CSS_GPIO_Port, SPI4_CSS_Pin, GPIO_PIN_SET);
  HAL_Delay(2);
  HAL_GPIO_WritePin(SPI4_CSS_GPIO_Port, SPI4_CSS_Pin, GPIO_PIN_RESET);
  HAL_SPI_TransmitReceive(&hspi4, (uint8_t*)&cmd_read, (uint8_t*)&dummy, 1, 100);
  HAL_GPIO_WritePin(SPI4_CSS_GPIO_Port, SPI4_CSS_Pin, GPIO_PIN_SET);
  HAL_Delay(2);
  spi4_tx_buf[0] = 0xFFFF;
  SCB_CleanDCache_by_Addr((uint32_t*)spi4_tx_buf, sizeof(spi4_tx_buf));

  enc_rot_A._last_raw_pos = (float)(dummy & 0x3FFF) * (360.0f / 16384.0f);
  if (enc_rot_A._last_raw_pos > 180.0f) enc_rot_A._turns = -1;

  /*
    ____  ____ ___ __     ___       _ _
   / ___||  _ \_ _/ /_   |_ _|_ __ (_) |_
   \___ \| |_) | | '_ \   | || '_ \| | __|
    ___) |  __/| | (_) |  | || | | | | |_
   |____/|_|  |___\___/  |___|_| |_|_|\__|

  */
  HAL_GPIO_WritePin(SPI6_CSS_GPIO_Port, SPI6_CSS_Pin, GPIO_PIN_RESET);
  HAL_SPI_TransmitReceive(&hspi6, (uint8_t*)&cmd_clear, (uint8_t*)&dummy, 1, 100);
  HAL_GPIO_WritePin(SPI6_CSS_GPIO_Port, SPI6_CSS_Pin, GPIO_PIN_SET);
  HAL_Delay(2);
  HAL_GPIO_WritePin(SPI6_CSS_GPIO_Port, SPI6_CSS_Pin, GPIO_PIN_RESET);
  HAL_SPI_TransmitReceive(&hspi6, (uint8_t*)&cmd_read, (uint8_t*)&dummy, 1, 100);
  HAL_GPIO_WritePin(SPI6_CSS_GPIO_Port, SPI6_CSS_Pin, GPIO_PIN_SET);
  HAL_Delay(2);
  HAL_GPIO_WritePin(SPI6_CSS_GPIO_Port, SPI6_CSS_Pin, GPIO_PIN_RESET);
  HAL_SPI_TransmitReceive(&hspi6, (uint8_t*)&cmd_read, (uint8_t*)&dummy, 1, 100);
  HAL_GPIO_WritePin(SPI6_CSS_GPIO_Port, SPI6_CSS_Pin, GPIO_PIN_SET);
  HAL_Delay(2);
  spi6_tx_buf[0] = 0xFFFF;
  SCB_CleanDCache_by_Addr((uint32_t*)spi6_tx_buf, sizeof(spi6_tx_buf));
  enc_rot_C._last_raw_pos = (float)(dummy & 0x3FFF) * (360.0f / 16384.0f);
  if (enc_rot_C._last_raw_pos > 180.0f) enc_rot_C._turns = -1;

  /*
    _     _____ ____        ____
   | |   | ____|  _ \ ___  |  _ \  __ _ _ __   ___ ___
   | |   |  _| | | | / __| | | | |/ _` | '_ \ / __/ _ \
   | |___| |___| |_| \__ \ | |_| | (_| | | | | (_|  __/
   |_____|_____|____/|___/ |____/ \__,_|_| |_|\___\___|

  */

  HAL_GPIO_TogglePin(LED_1_GPIO_Port, LED_1_Pin);
  HAL_Delay(500);
  HAL_GPIO_TogglePin(LED_1_GPIO_Port, LED_1_Pin);
  HAL_Delay(500);
  HAL_GPIO_TogglePin(LED_1_GPIO_Port, LED_1_Pin);
  HAL_Delay(500);

  machine_state = INIT;

  axis_X._target_pos = 0.0f;
  axis_X._target_vel = 0.0f;
  axis_Y._target_pos = 0.0f;
  axis_Y._target_vel = 0.0f;
  axis_A1._target = 1.0f;
  axis_A2._target = 1.0f;
  axis_C._target = 0.0f;
  axis_Z1._target = 0.0f;
  axis_Z2._target = 0.0f;
  mot_flow._current_speed_hz = 0.0f;

  // let's start b
  HAL_Delay(10);
  HAL_TIM_Base_Start_IT(&htim6);
  // HAL_GPIO_WritePin(EN_STEPPERS_GPIO_Port, EN_STEPPERS_Pin, GPIO_PIN_RESET);
  /* USER CODE END 2 */

  /* Infinite loop */
  /* USER CODE BEGIN WHILE */
  char serial_buf[128];
  while (1)
  {
    /* USER CODE END WHILE */

    /* USER CODE BEGIN 3 */

    // DEBUG prints
    __disable_irq();
    // uint16_t raw_y = spi2_rx_buf[0];
    float pos_y = axis_Y._enc_lin->_converted_value;
    float pos_x = axis_X._enc_lin->_converted_value;
    float pos_a = enc_rot_A._converted_value;
    float psos_c = enc_rot_C._converted_value;
    __enable_irq();

    // char err_y = (raw_y & 0x4000) ? 'E' : 'O';

  sprintf(serial_buf, "pos_y: %d | pos_x: %d | pos_a: %d | pos_c: %d | machine_State: %d\r\n", (int)pos_y, (int)pos_x, (int)pos_a, (int)psos_c, (int)machine_state);
    // sprintf(serial_buf, "RAW Y[0]: 0x%04X (%c) | Pos Y: %d | LIN Y: %d\r\n", raw_y, err_y, (int)pos_y, (int)pos_lin);

    HAL_UART_Transmit(&huart1, (uint8_t*)serial_buf, strlen(serial_buf), 10);
    HAL_Delay(100);

  }
  /* USER CODE END 3 */
}

void SystemClock_Config(void)
{
  RCC_OscInitTypeDef RCC_OscInitStruct = {0};
  RCC_ClkInitTypeDef RCC_ClkInitStruct = {0};

  /** Supply configuration update enable
  */
  HAL_PWREx_ConfigSupply(PWR_LDO_SUPPLY);

  /** Configure the main internal regulator output voltage
  */
  __HAL_PWR_VOLTAGESCALING_CONFIG(PWR_REGULATOR_VOLTAGE_SCALE0);

  while(!__HAL_PWR_GET_FLAG(PWR_FLAG_VOSRDY)) {}

  /** Initializes the RCC Oscillators according to the specified parameters
  * in the RCC_OscInitTypeDef structure.
  */
  RCC_OscInitStruct.OscillatorType = RCC_OSCILLATORTYPE_HSI;
  RCC_OscInitStruct.HSIState = RCC_HSI_DIV1;
  RCC_OscInitStruct.HSICalibrationValue = 64;
  RCC_OscInitStruct.PLL.PLLState = RCC_PLL_ON;
  RCC_OscInitStruct.PLL.PLLSource = RCC_PLLSOURCE_HSI;
  RCC_OscInitStruct.PLL.PLLM = 4;
  RCC_OscInitStruct.PLL.PLLN = 34;
  RCC_OscInitStruct.PLL.PLLP = 1;
  RCC_OscInitStruct.PLL.PLLQ = 2;
  RCC_OscInitStruct.PLL.PLLR = 2;
  RCC_OscInitStruct.PLL.PLLRGE = RCC_PLL1VCIRANGE_3;
  RCC_OscInitStruct.PLL.PLLVCOSEL = RCC_PLL1VCOWIDE;
  RCC_OscInitStruct.PLL.PLLFRACN = 3072;
  if (HAL_RCC_OscConfig(&RCC_OscInitStruct) != HAL_OK)
  {
    Error_Handler();
  }

  /** Initializes the CPU, AHB and APB buses clocks
  */
  RCC_ClkInitStruct.ClockType = RCC_CLOCKTYPE_HCLK|RCC_CLOCKTYPE_SYSCLK
                              |RCC_CLOCKTYPE_PCLK1|RCC_CLOCKTYPE_PCLK2
                              |RCC_CLOCKTYPE_D3PCLK1|RCC_CLOCKTYPE_D1PCLK1;
  RCC_ClkInitStruct.SYSCLKSource = RCC_SYSCLKSOURCE_PLLCLK;
  RCC_ClkInitStruct.SYSCLKDivider = RCC_SYSCLK_DIV1;
  RCC_ClkInitStruct.AHBCLKDivider = RCC_HCLK_DIV2;
  RCC_ClkInitStruct.APB3CLKDivider = RCC_APB3_DIV2;
  RCC_ClkInitStruct.APB1CLKDivider = RCC_APB1_DIV2;
  RCC_ClkInitStruct.APB2CLKDivider = RCC_APB2_DIV2;
  RCC_ClkInitStruct.APB4CLKDivider = RCC_APB4_DIV2;

  if (HAL_RCC_ClockConfig(&RCC_ClkInitStruct, FLASH_LATENCY_3) != HAL_OK)
  {
    Error_Handler();
  }
}

void PeriphCommonClock_Config(void)
{
  RCC_PeriphCLKInitTypeDef PeriphClkInitStruct = {0};

  /** Initializes the peripherals clock
  */
  PeriphClkInitStruct.PeriphClockSelection = RCC_PERIPHCLK_CKPER;
  PeriphClkInitStruct.CkperClockSelection = RCC_CLKPSOURCE_HSI;
  if (HAL_RCCEx_PeriphCLKConfig(&PeriphClkInitStruct) != HAL_OK)
  {
    Error_Handler();
  }
}

 /* MPU Configuration */

void MPU_Config(void)
{
  MPU_Region_InitTypeDef MPU_InitStruct = {0};

  /* Disables the MPU */
  HAL_MPU_Disable();

  /** Initializes and configures the Region and the memory to be protected
  */
  MPU_InitStruct.Enable = MPU_REGION_ENABLE;
  MPU_InitStruct.Number = MPU_REGION_NUMBER0;
  MPU_InitStruct.BaseAddress = 0x0;
  MPU_InitStruct.Size = MPU_REGION_SIZE_4GB;
  MPU_InitStruct.SubRegionDisable = 0x87;
  MPU_InitStruct.TypeExtField = MPU_TEX_LEVEL0;
  MPU_InitStruct.AccessPermission = MPU_REGION_NO_ACCESS;
  MPU_InitStruct.DisableExec = MPU_INSTRUCTION_ACCESS_DISABLE;
  MPU_InitStruct.IsShareable = MPU_ACCESS_SHAREABLE;
  MPU_InitStruct.IsCacheable = MPU_ACCESS_NOT_CACHEABLE;
  MPU_InitStruct.IsBufferable = MPU_ACCESS_NOT_BUFFERABLE;

  HAL_MPU_ConfigRegion(&MPU_InitStruct);
  /* Enables the MPU */
  HAL_MPU_Enable(MPU_PRIVILEGED_DEFAULT);

}

void Error_Handler(void)
{
  /* USER CODE BEGIN Error_Handler_Debug */
  /* User can add his own implementation to report the HAL error return state */
  __disable_irq();
  HAL_GPIO_WritePin(LED_2_GPIO_Port, LED_2_Pin, GPIO_PIN_SET);
  while(1){}
  /* USER CODE END Error_Handler_Debug */
}
